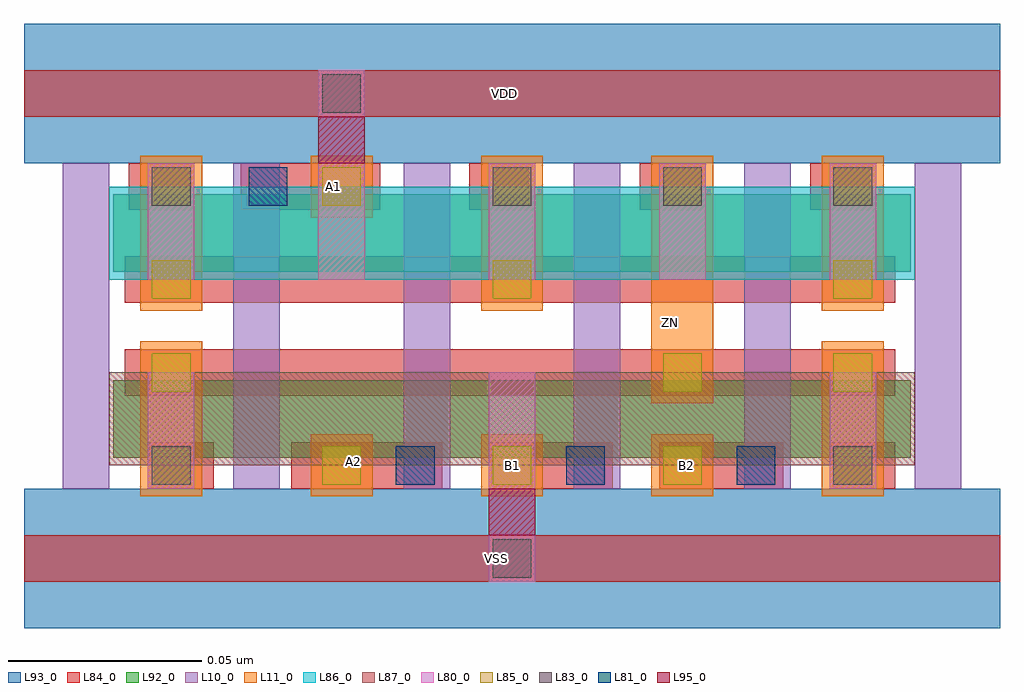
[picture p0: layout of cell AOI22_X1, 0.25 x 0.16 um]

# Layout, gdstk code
import gdstk
lib = gdstk.Library(unit=1e-6, precision=1e-09)
def R(c, l, rs):  # rectangles x0, y0, x1, y1
    for r in rs: c.add(gdstk.rectangle(r[:2], r[2:], *l))
def A(c, l, x, y, w, h, nx, ny, dx, dy):  # array of equal rectangles
    R(c, l, [(x+i*dx, y+j*dy, x+i*dx+w, y+j*dy+h) for i in range(nx) for j in range(ny)])
L10_0 = (10, 0)
L11_0 = (11, 0)
L80_0 = (80, 0)
L81_0 = (81, 0)
L83_0 = (83, 0)
L84_0 = (84, 0)
L85_0 = (85, 0)
L86_0 = (86, 0)
L87_0 = (87, 0)
L92_0 = (92, 0)
L93_0 = (93, 0)
L95_0 = (95, 0)

aoi22_x1 = lib.new_cell('AOI22_X1')
A(aoi22_x1, L10_0, 0.01, 0.018, 0.012, 0.084, 6, 1, 0.044, 0)
A(aoi22_x1, L11_0, 0.074, 0.016, 0.016, 0.016, 3, 1, 0.044, 0)
A(aoi22_x1, L11_0, 0.03, 0.064, 0.016, 0.04, 3, 1, 0.088, 0)
R(aoi22_x1, L11_0, [(0.03,0.016,0.046,0.056), (0.206,0.016,0.222,0.056), (0.162,0.04,0.178,0.104), (0.074,0.088,0.09,0.104)])
A(aoi22_x1, L80_0, 0.12, 0.072, 0.012, 0.03, 3, 1, 0.044, 0)
R(aoi22_x1, L80_0, [(0.12,-0.006,0.132,0.048), (0.032,0.018,0.044,0.048), (0.208,0.018,0.22,0.048), (0.032,0.072,0.044,0.102), (0.076,0.072,0.088,0.126)])
A(aoi22_x1, L81_0, 0.096, 0.019, 0.01, 0.01, 3, 1, 0.044, 0)
R(aoi22_x1, L81_0, [(0.058,0.091,0.068,0.101)])
A(aoi22_x1, L83_0, 0.121, 0.091, 0.01, 0.01, 3, 1, 0.044, 0)
R(aoi22_x1, L83_0, [(0.121,-0.005,0.131,0.005), (0.033,0.019,0.043,0.029), (0.209,0.019,0.219,0.029), (0.033,0.091,0.043,0.101), (0.077,0.115,0.087,0.125)])
A(aoi22_x1, L84_0, 0.115, 0.09, 0.017, 0.012, 3, 1, 0.044, 0)
R(aoi22_x1, L84_0, [(0,-0.006,0.252,0.006), (0.032,0.018,0.049,0.03), (0.069,0.018,0.108,0.03), (0.12,0.018,0.152,0.03), (0.164,0.018,0.196,0.03), (0.208,0.018,0.225,0.03), (0.026,0.042,0.225,0.054), (0.026,0.066,0.225,0.078), (0.027,0.09,0.044,0.102), (0.056,0.09,0.092,0.102), (0,0.114,0.252,0.126)])
A(aoi22_x1, L85_0, 0.033, 0.019, 0.01, 0.01, 5, 2, 0.044, 0.072)
A(aoi22_x1, L85_0, 0.033, 0.067, 0.01, 0.01, 3, 1, 0.088, 0)
R(aoi22_x1, L85_0, [(0.033,0.043,0.043,0.053), (0.165,0.043,0.175,0.053), (0.209,0.043,0.219,0.053)])
R(aoi22_x1, L86_0, [(0.022,0.072,0.23,0.096)])
R(aoi22_x1, L87_0, [(0.022,0.024,0.23,0.048)])
R(aoi22_x1, L92_0, [(0.023,0.026,0.229,0.046), (0.023,0.074,0.229,0.094)])
R(aoi22_x1, L93_0, [(0,-0.018,0.252,0.018), (0,0.102,0.252,0.138)])
R(aoi22_x1, L95_0, [(0.12,0.006,0.132,0.018), (0.076,0.102,0.088,0.114)])
aoi22_x1.add(gdstk.Label('ZN', (0.167,0.061), layer=31, texttype=0))
aoi22_x1.add(gdstk.Label('B2', (0.171,0.024), layer=31, texttype=0))
aoi22_x1.add(gdstk.Label('A2', (0.085,0.025), layer=31, texttype=0))
aoi22_x1.add(gdstk.Label('B1', (0.126,0.024), layer=31, texttype=0))
aoi22_x1.add(gdstk.Label('A1', (0.08,0.096), layer=31, texttype=0))
aoi22_x1.add(gdstk.Label('VDD', (0.124,0.12), layer=88, texttype=0))
aoi22_x1.add(gdstk.Label('VSS', (0.122,0), layer=88, texttype=0))

lib.write_gds('AOI22_X1.gds')
